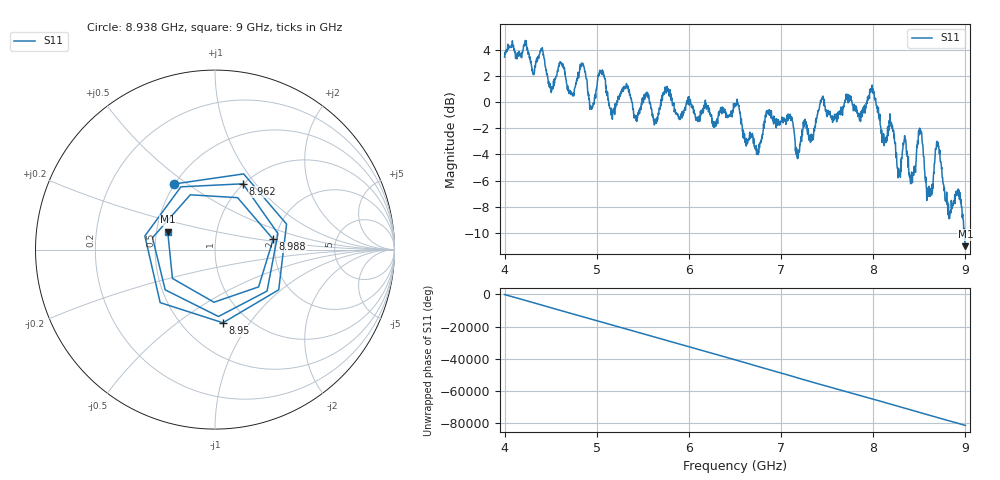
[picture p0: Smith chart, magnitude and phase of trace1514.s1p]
! Created with skrf 1.8.0 (http://scikit-rf.org).
# Hz S RI R 50.0
!freq ReS11 ImS11
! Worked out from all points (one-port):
!   1601 points, 4 GHz to 9 GHz, reference 50 ohm
!   lowest |S11| = -11.0 dB at 9 GHz (marker M1), VSWR 1.78, Z = 28.7 + j6.22 ohm
!   |S11| at or under -10 dB: 8.9839 GHz to 8.984187 GHz (287.1 kHz wide, 0.0032 % of centre); 8.991376 GHz to end of sweep
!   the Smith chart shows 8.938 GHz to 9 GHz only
!   S11 on the Smith chart (normalised r, x): 8.938 GHz: 0.50, +0.45; 8.95 GHz: 0.77, -0.76; 8.962 GHz: 0.99, +0.87; 8.988 GHz: 1.94, +0.25; 9 GHz: 0.57, +0.12
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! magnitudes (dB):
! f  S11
! 4 GHz  3.4
! 4.625 GHz  2.8
! 4.728 GHz  0.7
! 4.847 GHz  2.9
! 4.947 GHz  -0.3
! 5.047 GHz  2.3
! 5.162 GHz  -0.8
! 5.25 GHz  0.6
! 5.875 GHz  -0.9
! 6.5 GHz  -0.3
! 6.734 GHz  -4.0
! 6.853 GHz  -0.9
! 7.125 GHz  -1.5
! 7.181 GHz  -4.2
! 7.444 GHz  0.3
! 7.75 GHz  0.4
! 7.988 GHz  1.3
! 8.278 GHz  -5.5
! 8.375 GHz  -4.2
! 8.512 GHz  -2.2
! 8.6 GHz  -7.2
! 8.697 GHz  -3.4
! 8.809 GHz  -8.5
! 8.938 GHz  -7.3
! 8.95 GHz  -7.7
! 8.962 GHz  -8.0
! 8.988 GHz  -9.6
! 9 GHz  -11.0
